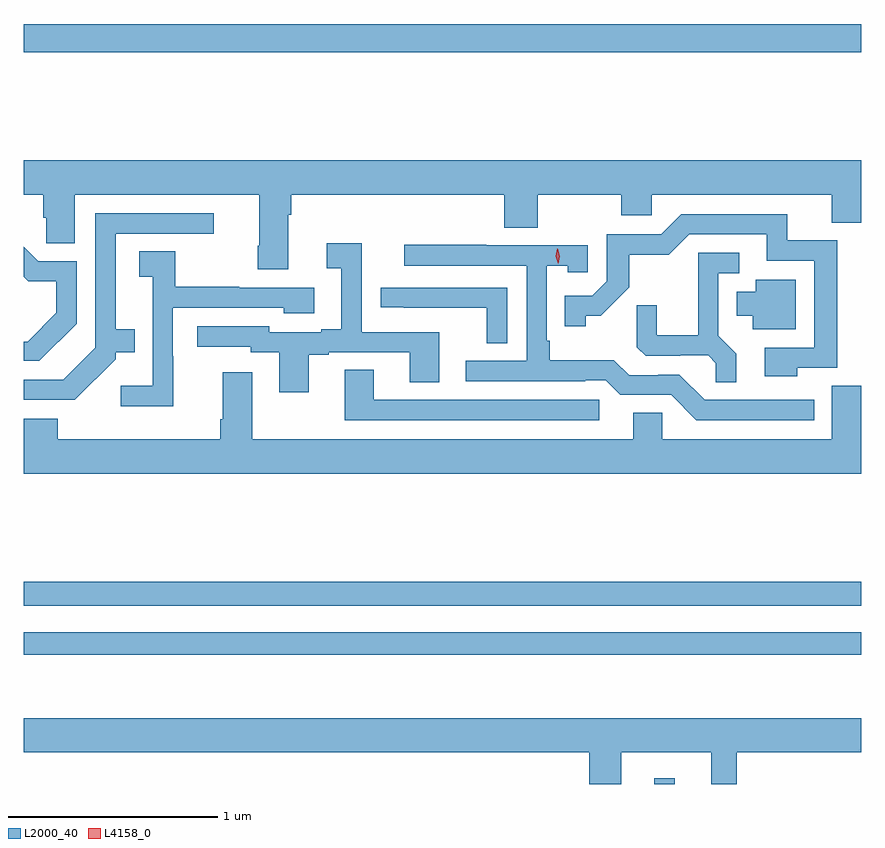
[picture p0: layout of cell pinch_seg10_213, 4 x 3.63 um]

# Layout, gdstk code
import gdstk
lib = gdstk.Library(unit=1e-6, precision=1e-09)
def R(c, l, rs):  # rectangles x0, y0, x1, y1
    for r in rs: c.add(gdstk.rectangle(r[:2], r[2:], *l))
def P(c, l, *ps):  # polygons
    for p in ps: c.add(gdstk.Polygon(p, *l))
L2000_40 = (2000, 40)
L4158_0 = (4158, 0)

pinch_seg10_213 = lib.new_cell('pinch_seg10_213')
R(pinch_seg10_213, L2000_40, [(640.154,1290.841,640.252,1290.868), (637.143,1291.458,641.143,1291.566), (637.143,1291.692,641.143,1291.808), (637.143,1294.336,641.143,1294.472)])
P(pinch_seg10_213, L2000_40, [(638.407,1293.56),(638.42,1293.56),(638.42,1293.656),(639.437,1293.656),(639.437,1293.499),(639.597,1293.499),(639.597,1293.656),(639.997,1293.656),(639.997,1293.558),(640.143,1293.558),(640.143,1293.656),(641.003,1293.656),(641.003,1293.523),(641.143,1293.523),(641.143,1293.82),(637.143,1293.82),(637.143,1293.656),(637.235,1293.656),(637.235,1293.546),(637.249,1293.546),(637.249,1293.424),(637.387,1293.424),(637.387,1293.656),(638.267,1293.656),(638.267,1293.412),(638.26,1293.412),(638.26,1293.3),(638.407,1293.3)],
  [(637.581,1292.871),(637.581,1292.903),(637.673,1292.903),(637.673,1293.013),(637.582,1293.013),(637.582,1293.471),(638.05,1293.471),(638.05,1293.567),(637.485,1293.567),(637.485,1292.925),(637.332,1292.772),(637.143,1292.772),(637.143,1292.676),(637.386,1292.676)],
  [(640.839,1292.829),(641.029,1292.829),(641.029,1293.438),(640.79,1293.438),(640.79,1293.564),(640.284,1293.564),(640.188,1293.468),(639.927,1293.468),(639.927,1293.243),(639.858,1293.174),(639.727,1293.174),(639.727,1293.027),(639.828,1293.027),(639.828,1293.077),(639.898,1293.077),(640.036,1293.214),(640.036,1293.37),(640.225,1293.37),(640.323,1293.468),(640.691,1293.468),(640.691,1293.342),(640.92,1293.342),(640.92,1292.925),(640.683,1292.925),(640.683,1292.789),(640.839,1292.789)],
  [(638.503,1292.892),(638.599,1292.892),(638.599,1292.904),(638.987,1292.904),(638.987,1292.761),(639.127,1292.761),(639.127,1293),(638.757,1293),(638.757,1293.424),(638.589,1293.424),(638.589,1293.304),(638.66,1293.304),(638.66,1293.013),(638.564,1293.013),(638.564,1293),(638.316,1293),(638.316,1293.027),(637.971,1293.027),(637.971,1292.931),(638.226,1292.931),(638.226,1292.904),(638.363,1292.904),(638.363,1292.712),(638.503,1292.712)],
  [(640.918,1292.676),(640.395,1292.676),(640.275,1292.796),(640.174,1292.796),(640.174,1292.793),(640.035,1292.793),(639.962,1292.866),(639.655,1292.866),(639.655,1292.959),(639.642,1292.959),(639.642,1293.317),(639.741,1293.317),(639.741,1293.285),(639.837,1293.285),(639.837,1293.414),(639.353,1293.414),(639.353,1293.417),(638.961,1293.417),(638.961,1293.318),(639.546,1293.318),(639.546,1292.862),(639.255,1292.862),(639.255,1292.766),(639.824,1292.766),(639.824,1292.769),(639.924,1292.769),(639.993,1292.7),(640.236,1292.7),(640.356,1292.58),(640.918,1292.58)],
  [(637.395,1293.041),(637.395,1293.339),(637.212,1293.339),(637.143,1293.408),(637.143,1293.264),(637.165,1293.242),(637.298,1293.242),(637.298,1293.092),(637.161,1292.955),(637.143,1292.955),(637.143,1292.862),(637.216,1292.862)],
  [(637.857,1292.885),(637.854,1292.885),(637.854,1293.117),(638.385,1293.117),(638.385,1293.089),(638.53,1293.089),(638.53,1293.213),(638.171,1293.213),(638.171,1293.216),(637.867,1293.216),(637.867,1293.386),(637.695,1293.386),(637.695,1293.265),(637.758,1293.265),(637.758,1292.743),(637.605,1292.743),(637.605,1292.645),(637.857,1292.645)],
  [(640.547,1292.897),(640.461,1292.983),(640.461,1293.282),(640.561,1293.282),(640.561,1293.378),(640.364,1293.378),(640.364,1292.986),(640.166,1292.986),(640.166,1293.129),(640.072,1293.129),(640.072,1292.927),(640.113,1292.886),(640.278,1292.886),(640.278,1292.889),(640.412,1292.889),(640.449,1292.852),(640.449,1292.761),(640.547,1292.761)],
  [(640.831,1293.25),(640.64,1293.25),(640.64,1293.193),(640.55,1293.193),(640.55,1293.077),(640.625,1293.077),(640.625,1293.014),(640.831,1293.014)],
  [(639.453,1293.213),(638.847,1293.213),(638.847,1293.118),(638.959,1293.118),(638.959,1293.117),(639.355,1293.117),(639.355,1292.947),(639.453,1292.947)],
  [(639.892,1292.676),(638.815,1292.676),(638.815,1292.819),(638.675,1292.819),(638.675,1292.58),(639.892,1292.58)],
  [(641.143,1292.744),(641.003,1292.744),(641.003,1292.488),(640.194,1292.488),(640.194,1292.615),(640.055,1292.615),(640.055,1292.488),(638.233,1292.488),(638.233,1292.809),(638.093,1292.809),(638.093,1292.584),(638.081,1292.584),(638.081,1292.488),(637.304,1292.488),(637.304,1292.587),(637.143,1292.587),(637.143,1292.324),(641.143,1292.324)],
  [(639.997,1290.992),(640.427,1290.992),(640.427,1290.841),(640.549,1290.841),(640.549,1290.992),(641.143,1290.992),(641.143,1291.156),(637.143,1291.156),(637.143,1290.992),(639.845,1290.992),(639.845,1290.841),(639.997,1290.841)])
P(pinch_seg10_213, L4158_0, [(639.695,1293.327),(639.695,1293.327),(639.684,1293.362),(639.692,1293.399),(639.693,1293.399),(639.693,1293.399),(639.704,1293.363),(639.695,1293.327)])

lib.write_gds('pinch_seg10_213.gds')
